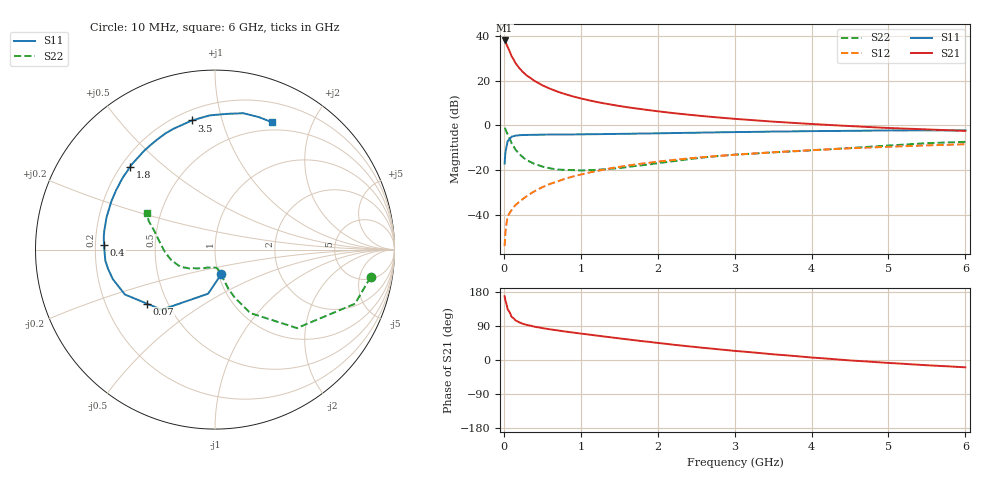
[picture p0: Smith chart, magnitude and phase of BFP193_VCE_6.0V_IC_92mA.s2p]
! Infineon Technologies  Discrete & RF Semiconductors
! BFP193
! VCE =  6.0 V,  IC =  92 mA
! Common Emitter S-Parameters:  Jan 2017
# GHz  S  MA  R  50
!  f  S11  S21  S12  S22
! GHz  MAG  ANG  MAG  ANG  MAG  ANG  MAG  ANG
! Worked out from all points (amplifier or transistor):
!   77 points, 10 MHz to 6 GHz, reference 50 ohm
!   highest |S21| = 38.0 dB at 10 MHz (marker M1)
!   |S21| within 3 dB of that: start of sweep to 50.96 MHz
!   unconditionally stable (mu >= 1): 351.4 MHz to 2.585 GHz
!   at 130 MHz: K = 0.73, MSG = 32.9 dB, |S12| = -36.5 dB
!   at 2.2 GHz: K = 1.02, MAG = 9.6 dB, |S12| = -15.4 dB
!   at 6 GHz: K = 0.93, MSG = 3.0 dB, |S12| = -8.4 dB
!   S11 on the Smith chart (normalised r, x): 10 MHz: 1.03, -0.29; 70 MHz: 0.38, -0.30; 400 MHz: 0.24, +0.02; 1.8 GHz: 0.24, +0.39; 3.5 GHz: 0.26, +0.80; 6 GHz: 0.41, +1.46
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0.01  0.1404 -75.1  79.67 168.2  0.002 82.9  0.88 -10.0
0.02  0.2486 -98.9  76.06 157.6  0.0039 85.6  0.8367 -21.1
0.05  0.4475 -131.5  56.85 133.4  0.0092 62.7  0.6319 -43.8
0.07  0.4839 -141.5  47.8 127.7  0.0106 61.3  0.5355 -48.9
0.1  0.561 -153.5  35.65 114.1  0.0128 59.7  0.4037 -61.0
0.15  0.5927 -163.9  25.11 104.9  0.0165 62.3  0.2906 -67.6
0.2  0.6051 -169.7  19.25 99.4  0.0196 66.8  0.2308 -71.2
0.25  0.6139 -174.1  15.55 95.3  0.0229 66.2  0.1931 -72.7
0.3  0.6147 -177.4  13.02 92.5  0.0264 69.9  0.1665 -74.3
0.4  0.6188 177.6  9.879 87.8  0.0339 70.5  0.1376 -76.2
0.5  0.6237 173.6  7.924 84.2  0.0416 71.3  0.1209 -78.7
0.7  0.6267 166.8  5.706 78.1  0.0563 72.2  0.1033 -84.2
0.9  0.6312 160.6  4.453 72.4  0.0724 70.4  0.1004 -91.4
1.1  0.6371 154.8  3.677 67.3  0.0879 69.0  0.1 -98.8
1.4  0.6449 146.4  2.921 59.6  0.1114 65.8  0.1078 -111.7
1.8  0.6615 135.8  2.306 49.7  0.1409 60.8  0.1291 -126.7
2.1  0.6716 128.3  1.985 42.9  0.1623 56.9  0.1508 -136.2
3.1  0.714 107.3  1.368 22.4  0.2276 43.9  0.2274 -158.9
3.5  0.7309 100.1  1.219 15.0  0.2519 39.4  0.2504 -166.4
4.1  0.7496 90.8  1.057 5.2  0.2857 32.0  0.2853 -179.7
5.1  0.7756 77.0  0.866 -8.9  0.3389 20.1  0.3646 161.3
6  0.7774 65.9  0.757 -19.3  0.3809 9.9  0.4303 152.0
